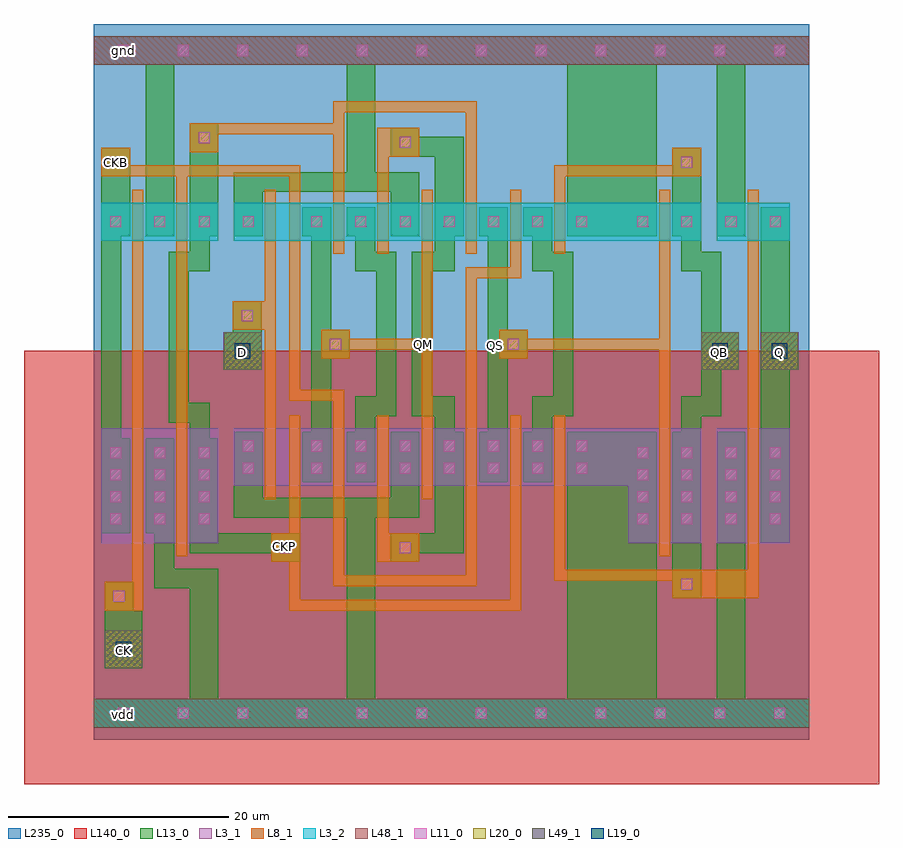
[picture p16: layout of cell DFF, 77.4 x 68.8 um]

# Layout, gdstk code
import gdstk
lib = gdstk.Library(unit=1e-6, precision=1e-09)
def R(c, l, rs):  # rectangles x0, y0, x1, y1
    for r in rs: c.add(gdstk.rectangle(r[:2], r[2:], *l))
def A(c, l, x, y, w, h, nx, ny, dx, dy):  # array of equal rectangles
    R(c, l, [(x+i*dx, y+j*dy, x+i*dx+w, y+j*dy+h) for i in range(nx) for j in range(ny)])
def P(c, l, *ps):  # polygons
    for p in ps: c.add(gdstk.Polygon(p, *l))
L3_1 = (3, 1)
L3_2 = (3, 2)
L8_1 = (8, 1)
L11_0 = (11, 0)
L13_0 = (13, 0)
L19_0 = (19, 0)
L20_0 = (20, 0)
L48_1 = (48, 1)
L49_1 = (49, 1)
L140_0 = (140, 0)
L235_0 = (235, 0)

dff = lib.new_cell('DFF')
R(dff, L3_1, [(0.7,-47,11.3,-36.6), (56.4,-47,63,-36.6), (0,-3.7,64.8,-1.1)])
P(dff, L3_1, [(48.4,-47),(48.4,-41.8),(12.7,-41.8),(12.7,-36.6),(55,-36.6),(55,-47)])
R(dff, L3_2, [(0,-63.7,64.8,-61.1), (0.7,-19.6,11.3,-16.2), (12.7,-19.6,55,-16.2), (56.4,-19.6,63,-16.2)])
R(dff, L8_1, [(1,-53.1,3.6,-50.5), (3.5,-53.1,4.5,-15), (52.4,-52,55,-49.4), (16.1,-48.7,18.7,-46.1), (26.9,-48.7,29.5,-46.1), (20.6,-30.3,23.2,-27.7), (36.7,-30.3,39.3,-27.7), (0.7,-13.8,3.3,-11.2), (52.4,-13.8,55,-11.2), (26.9,-12,29.5,-9.4), (8.7,-11.6,11.3,-9)])
P(dff, L8_1, [(17.7,-53.1),(17.7,-35.4),(18.7,-35.4),(18.7,-52.1),(37.7,-52.1),(37.7,-35.4),(38.7,-35.4),(38.7,-53.1)],
  [(41.7,-20.8),(41.7,-12.8),(52.4,-12.8),(52.4,-11.2),(55,-11.2),(55,-13.8),(42.7,-13.8),(42.7,-20.8)],
  [(25.7,-20.8),(25.7,-9.4),(26.9,-9.4),(26.9,-12),(26.7,-12),(26.7,-20.8)],
  [(21.7,-20.8),(21.7,-10),(11.3,-10),(11.3,-9),(21.7,-9),(21.7,-7),(34.7,-7),(34.7,-20.8),(33.7,-20.8),(33.7,-8),(22.7,-8),(22.7,-20.8)],
  [(15.5,-43),(15.5,-27.7),(12.6,-27.7),(12.6,-25.1),(15.5,-25.1),(15.5,-15),(16.5,-15),(16.5,-43)],
  [(29.7,-43),(29.7,-29.5),(23.2,-29.5),(23.2,-28.5),(29.7,-28.5),(29.7,-15),(30.7,-15),(30.7,-43)],
  [(51.2,-48.2),(51.2,-29.5),(39.3,-29.5),(39.3,-28.5),(51.2,-28.5),(51.2,-15),(52.2,-15),(52.2,-48.2)],
  [(25.7,-48.7),(25.7,-35.4),(26.7,-35.4),(26.7,-46.1),(26.9,-46.1),(26.9,-48.7)],
  [(21.7,-50.9),(21.7,-34.1),(17.7,-34.1),(17.7,-13.8),(8.5,-13.8),(8.5,-48.2),(7.5,-48.2),(7.5,-13.8),(3.3,-13.8),(3.3,-12.8),(18.7,-12.8),(18.7,-33.1),(22.7,-33.1),(22.7,-49.9),(33.7,-49.9),(33.7,-22),(37.7,-22),(37.7,-15),(38.7,-15),(38.7,-23),(34.7,-23),(34.7,-50.9)],
  [(52.4,-52),(52.4,-50.4),(41.7,-50.4),(41.7,-35.4),(42.7,-35.4),(42.7,-49.4),(59.2,-49.4),(59.2,-15),(60.2,-15),(60.2,-52)])
A(dff, L11_0, 2.2, -62.9, 1, 1, 12, 2, 5.4, 60)
A(dff, L11_0, 1.5, -45.3, 1, 1, 3, 4, 4, 2)
A(dff, L11_0, 49.2, -45.3, 1, 1, 1, 3, 0, 2)
A(dff, L11_0, 1.5, -18.4, 1, 1, 4, 1, 4, 0)
R(dff, L11_0, [(1.8,-52.3,2.8,-51.3), (53.2,-51.2,54.2,-50.2), (16.9,-47.9,17.9,-46.9), (27.7,-47.9,28.7,-46.9), (53.2,-45.3,54.2,-44.3), (53.2,-45.3,54.2,-44.3), (53.2,-45.3,54.2,-44.3), (57.2,-45.3,58.2,-44.3), (57.2,-45.3,58.2,-44.3), (57.2,-45.3,58.2,-44.3), (57.2,-45.3,58.2,-44.3), (61.2,-45.3,62.2,-44.3), (61.2,-45.3,62.2,-44.3), (53.2,-43.3,54.2,-42.3), (53.2,-43.3,54.2,-42.3), (53.2,-43.3,54.2,-42.3), (57.2,-43.3,58.2,-42.3), (57.2,-43.3,58.2,-42.3), (57.2,-43.3,58.2,-42.3), (57.2,-43.3,58.2,-42.3), (61.2,-43.3,62.2,-42.3), (61.2,-43.3,62.2,-42.3), (49.2,-41.3,50.2,-40.3), (49.2,-41.3,50.2,-40.3), (49.2,-41.3,50.2,-40.3), (49.2,-41.3,50.2,-40.3), (49.2,-41.3,50.2,-40.3), (53.2,-41.3,54.2,-40.3), (53.2,-41.3,54.2,-40.3), (53.2,-41.3,54.2,-40.3), (57.2,-41.3,58.2,-40.3), (57.2,-41.3,58.2,-40.3), (61.2,-41.3,62.2,-40.3), (61.2,-41.3,62.2,-40.3), (13.5,-40.7,14.5,-39.7), (19.7,-40.7,20.7,-39.7), (19.7,-40.7,20.7,-39.7), (23.7,-40.7,24.7,-39.7), (23.7,-40.7,24.7,-39.7), (27.7,-40.7,28.7,-39.7), (27.7,-40.7,28.7,-39.7), (27.7,-40.7,28.7,-39.7), (27.7,-40.7,28.7,-39.7), (31.7,-40.7,32.7,-39.7), (31.7,-40.7,32.7,-39.7), (35.7,-40.7,36.7,-39.7), (35.7,-40.7,36.7,-39.7), (35.7,-40.7,36.7,-39.7), (35.7,-40.7,36.7,-39.7), (39.7,-40.7,40.7,-39.7), (39.7,-40.7,40.7,-39.7), (43.7,-40.7,44.7,-39.7), (49.2,-39.3,50.2,-38.3), (49.2,-39.3,50.2,-38.3), (49.2,-39.3,50.2,-38.3), (49.2,-39.3,50.2,-38.3), (49.2,-39.3,50.2,-38.3), (53.2,-39.3,54.2,-38.3), (53.2,-39.3,54.2,-38.3), (53.2,-39.3,54.2,-38.3), (57.2,-39.3,58.2,-38.3), (57.2,-39.3,58.2,-38.3), (61.2,-39.3,62.2,-38.3), (61.2,-39.3,62.2,-38.3), (13.5,-38.7,14.5,-37.7), (19.7,-38.7,20.7,-37.7), (19.7,-38.7,20.7,-37.7), (23.7,-38.7,24.7,-37.7), (23.7,-38.7,24.7,-37.7), (27.7,-38.7,28.7,-37.7), (27.7,-38.7,28.7,-37.7), (27.7,-38.7,28.7,-37.7), (27.7,-38.7,28.7,-37.7), (31.7,-38.7,32.7,-37.7), (31.7,-38.7,32.7,-37.7), (35.7,-38.7,36.7,-37.7), (35.7,-38.7,36.7,-37.7), (35.7,-38.7,36.7,-37.7), (35.7,-38.7,36.7,-37.7), (39.7,-38.7,40.7,-37.7), (39.7,-38.7,40.7,-37.7), (43.7,-38.7,44.7,-37.7), (21.4,-29.5,22.4,-28.5), (37.5,-29.5,38.5,-28.5), (13.4,-26.9,14.4,-25.9), (19.7,-18.4,20.7,-17.4), (19.7,-18.4,20.7,-17.4), (23.7,-18.4,24.7,-17.4), (23.7,-18.4,24.7,-17.4), (27.7,-18.4,28.7,-17.4), (27.7,-18.4,28.7,-17.4), (27.7,-18.4,28.7,-17.4), (27.7,-18.4,28.7,-17.4), (31.7,-18.4,32.7,-17.4), (31.7,-18.4,32.7,-17.4), (35.7,-18.4,36.7,-17.4), (35.7,-18.4,36.7,-17.4), (35.7,-18.4,36.7,-17.4), (35.7,-18.4,36.7,-17.4), (39.7,-18.4,40.7,-17.4), (39.7,-18.4,40.7,-17.4), (43.7,-18.4,44.7,-17.4), (49.2,-18.4,50.2,-17.4), (49.2,-18.4,50.2,-17.4), (49.2,-18.4,50.2,-17.4), (49.2,-18.4,50.2,-17.4), (49.2,-18.4,50.2,-17.4), (49.2,-18.4,50.2,-17.4), (53.2,-18.4,54.2,-17.4), (53.2,-18.4,54.2,-17.4), (57.2,-18.4,58.2,-17.4), (57.2,-18.4,58.2,-17.4), (61.2,-18.4,62.2,-17.4), (1.5,-13,2.5,-12), (53.2,-13,54.2,-12), (27.7,-11.2,28.7,-10.2), (9.5,-10.8,10.5,-9.8)])
R(dff, L13_0, [(0,-63.7,64.8,-61.1), (8.7,-61.1,11.3,-51.1), (42.9,-61.1,51,-36.9), (56.4,-61.1,59,-36.9), (1,-58.3,4.4,-53.1), (1,-58.3,4.4,-54.9), (1,-53.1,3.6,-50.5), (52.4,-52,55,-49.4), (5.5,-51.1,7.3,-46.1), (7.3,-51.1,11.3,-49.3), (16.1,-48.7,18.7,-46.1), (26.9,-48.7,29.5,-46.1), (11.3,-47.9,16.1,-46.1), (0.7,-46.1,3.3,-37.5), (4.7,-46.1,7.3,-37.5), (11.8,-31.3,15.2,-27.9), (20.6,-30.3,23.2,-27.7), (36.7,-30.3,39.3,-27.7), (12.6,-27.9,15.2,-25.1), (4.7,-19.2,7.3,-3.7), (42.9,-19.2,51,-3.7), (56.4,-19.2,59,-3.7), (0.7,-13.8,3.3,-11.2), (52.4,-13.8,55,-11.2), (26.9,-12,29.5,-9.4), (8.7,-11.6,11.3,-9), (0,-3.7,64.8,-1.1)])
P(dff, L13_0, [(34.9,-41.5),(34.9,-36.9),(35.7,-36.9),(35.7,-19.2),(34.9,-19.2),(34.9,-16.6),(37.5,-16.6),(37.5,-41.5)],
  [(8.7,-47.9),(8.7,-36.1),(6.8,-36.1),(6.8,-20.6),(8.7,-20.6),(8.7,-9),(11.3,-9),(11.3,-19.2),(10.5,-19.2),(10.5,-22.4),(8.6,-22.4),(8.6,-34.3),(10.5,-34.3),(10.5,-37.5),(11.3,-37.5),(11.3,-47.9)],
  [(0.7,-37.5),(0.7,-13.8),(3.3,-13.8),(3.3,-19.2),(2.5,-19.2),(2.5,-37.5)],
  [(18.9,-41.5),(18.9,-36.9),(19.7,-36.9),(19.7,-19.2),(18.9,-19.2),(18.9,-16.6),(21.5,-16.6),(21.5,-41.5)],
  [(22.9,-41.5),(22.9,-36.9),(23.7,-36.9),(23.7,-33.7),(25.6,-33.7),(25.6,-22.4),(23.7,-22.4),(23.7,-19.2),(22.9,-19.2),(22.9,-16.6),(25.5,-16.6),(25.5,-20.6),(27.4,-20.6),(27.4,-35.5),(25.5,-35.5),(25.5,-41.5)],
  [(38.9,-41.5),(38.9,-36.9),(39.7,-36.9),(39.7,-33.7),(41.6,-33.7),(41.6,-22.4),(39.7,-22.4),(39.7,-19.2),(38.9,-19.2),(38.9,-16.6),(41.5,-16.6),(41.5,-20.6),(43.4,-20.6),(43.4,-35.5),(41.5,-35.5),(41.5,-41.5)],
  [(60.4,-47),(60.4,-16.6),(63,-16.6),(63,-27.9),(63.8,-27.9),(63.8,-31.3),(63,-31.3),(63,-47)],
  [(29.5,-47.9),(29.5,-46.1),(30.9,-46.1),(30.9,-35.5),(28.8,-35.5),(28.8,-20.6),(30.9,-20.6),(30.9,-12),(29.5,-12),(29.5,-10.2),(33.5,-10.2),(33.5,-19.2),(32.7,-19.2),(32.7,-22.4),(30.6,-22.4),(30.6,-33.7),(32.7,-33.7),(32.7,-36.9),(33.5,-36.9),(33.5,-47.9)],
  [(52.4,-52),(52.4,-36.9),(53.2,-36.9),(53.2,-33.7),(55,-33.7),(55,-22.4),(53.2,-22.4),(53.2,-19.2),(52.4,-19.2),(52.4,-11.9),(55,-11.9),(55,-20.6),(56.8,-20.6),(56.8,-27.9),(58.4,-27.9),(58.4,-31.3),(56.8,-31.3),(56.8,-35.5),(55,-35.5),(55,-52)],
  [(22.9,-61.1),(22.9,-44.7),(12.7,-44.7),(12.7,-36.9),(15.3,-36.9),(15.3,-42.9),(26.9,-42.9),(26.9,-36.9),(29.5,-36.9),(29.5,-44.7),(25.5,-44.7),(25.5,-61.1)],
  [(12.7,-19.2),(12.7,-13.4),(22.9,-13.4),(22.9,-3.7),(25.5,-3.7),(25.5,-13.4),(29.5,-13.4),(29.5,-19.2),(26.9,-19.2),(26.9,-15.2),(15.3,-15.2),(15.3,-19.2)])
R(dff, L19_0, [(2,-57.3,3.4,-55.9), (12.8,-30.3,14.2,-28.9), (56,-30.3,57.4,-28.9), (61.4,-30.3,62.8,-28.9)])
R(dff, L20_0, [(1,-58.3,4.4,-54.9), (11.8,-31.3,15.2,-27.9), (55,-31.3,58.4,-27.9), (60.4,-31.3,63.8,-27.9)])
R(dff, L48_1, [(0,-63.7,64.8,-61.1), (0,-3.7,64.8,-1.1)])
R(dff, L49_1, [(1,-58.3,4.4,-54.9), (11.8,-31.3,15.2,-27.9), (55,-31.3,58.4,-27.9), (60.4,-31.3,63.8,-27.9)])
R(dff, L140_0, [(-6.3,-68.8,71.1,-29.6)])
R(dff, L235_0, [(0,-64.8,64.8,0)])
dff.add(gdstk.Label('CKP', (17.3,-47.3), layer=48, texttype=0))
dff.add(gdstk.Label('CKB', (2,-12.5), layer=48, texttype=0))
dff.add(gdstk.Label('QM', (29.9,-29), layer=48, texttype=0))
dff.add(gdstk.Label('QS', (36.4,-29.1), layer=48, texttype=0))
dff.add(gdstk.Label('gnd', (2.7,-2.4), layer=48, texttype=0))
dff.add(gdstk.Label('vdd', (2.7,-62.5), layer=48, texttype=0))
dff.add(gdstk.Label('CK', (2.7,-56.7), layer=49, texttype=0))
dff.add(gdstk.Label('D', (13.5,-29.7), layer=49, texttype=0))
dff.add(gdstk.Label('QB', (56.7,-29.7), layer=49, texttype=0))
dff.add(gdstk.Label('Q', (62.1,-29.7), layer=49, texttype=0))

lib.write_gds('DFF.gds')
